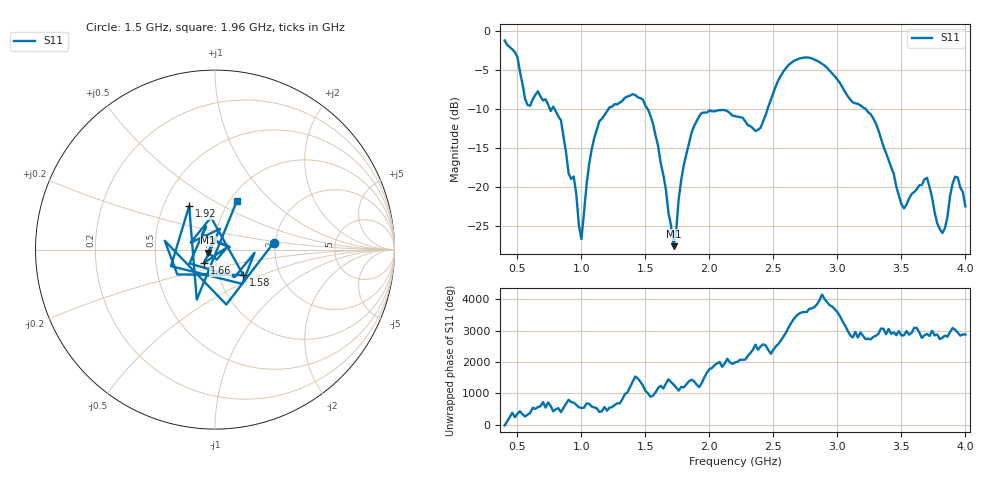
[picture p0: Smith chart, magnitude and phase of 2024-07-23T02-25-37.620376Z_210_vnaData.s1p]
!Created with skrf (http://scikit-rf.org).
# Hz S RI R 50.0
!freq ReS11 ImS11
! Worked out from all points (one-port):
!   181 points, 400 MHz to 4 GHz, reference 50 ohm
!   lowest |S11| = -27.6 dB at 1.72 GHz (marker M1), VSWR 1.09, Z = 46.3 - j1.57 ohm
!   |S11| at or under -10 dB: 788.4 MHz to 1.214 GHz (425.1 MHz wide, 42.5 % of centre); 1.516 GHz to 2.456 GHz (939.8 MHz wide, 47.3 % of centre); 3.217 GHz to end of sweep (the widest 3 of 4)
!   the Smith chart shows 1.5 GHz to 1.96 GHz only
!   S11 on the Smith chart (normalised r, x): 1.5 GHz: 1.96, +0.17; 1.58 GHz: 1.31, -0.39; 1.66 GHz: 0.88, -0.13; 1.92 GHz: 0.67, +0.35; 1.96 GHz: 1.08, +0.65
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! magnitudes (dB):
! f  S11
! 400 MHz  -1.3
! 500 MHz  -3.4
! 580 MHz  -9.6
! 660 MHz  -7.8
! 860 MHz  -13.6
! 900 MHz  -18.3
! 940 MHz  -18.7
! 1 GHz  -26.7
! 1.1 GHz  -13.8
! 1.3 GHz  -9.2
! 1.5 GHz  -9.6
! 1.58 GHz  -13.5
! 1.66 GHz  -20.4
! 1.72 GHz  -27.6
! 1.76 GHz  -21.6
! 1.92 GHz  -11.0
! 1.96 GHz  -10.5
! 2.2 GHz  -11.0
! 2.4 GHz  -12.5
! 2.66 GHz  -3.9
! 3.1 GHz  -8.8
! 3.28 GHz  -11.2
! 3.5 GHz  -22.2
! 3.56 GHz  -21.5
! 3.7 GHz  -18.9
! 3.82 GHz  -25.9
! 3.92 GHz  -18.7
! 4 GHz  -22.5
